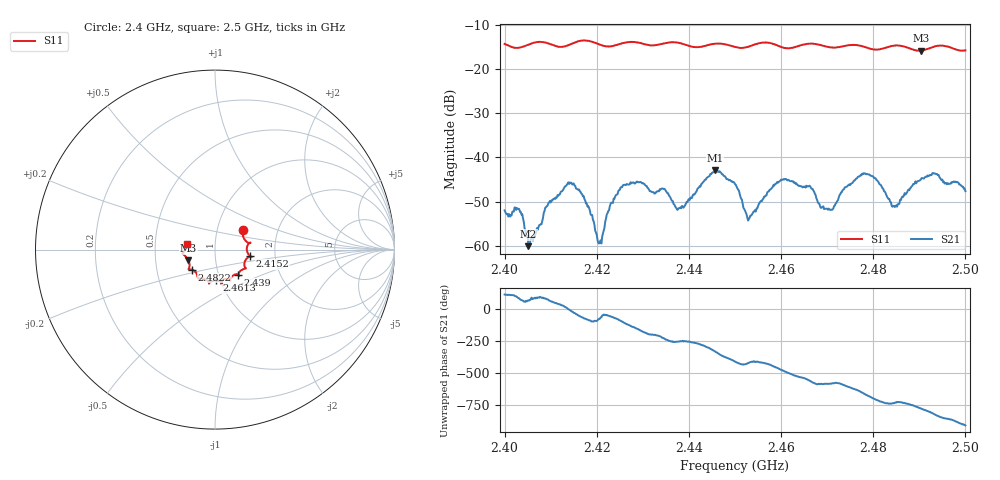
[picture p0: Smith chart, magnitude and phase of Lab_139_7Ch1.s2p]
# Hz S RI R
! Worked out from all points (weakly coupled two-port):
!   601 points, 2.4 GHz to 2.5 GHz, reference 50 ohm
!   highest |S21| = -42.93 dB at 2.4457 GHz (marker M1); lowest = -60.0 dB at 2.4052 GHz (marker M2)
!   lowest |S11| = -15.9 dB at 2.4903 GHz (marker M3), VSWR 1.38, Z = 36.8 - j4.44 ohm
!   |S11| at or under -10 dB: start of sweep to end of sweep
!   S12 and S22 are empty: the file has one direction only
!   S11 on the Smith chart (normalised r, x): 2.4 GHz: 1.33, +0.31; 2.4152 GHz: 1.48, -0.11; 2.439 GHz: 1.24, -0.36; 2.4613 GHz: 0.96, -0.34; 2.4822 GHz: 0.76, -0.17; 2.5 GHz: 0.72, +0.05
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2.4e9  0.1558 0.1112  -0.00116 0.00224  0 0  0 0
2.403333e9  0.1647 0.0566  0.000415 0.0024  0 0  0 0
2.405167e9  0.184 0.0389  0.000315 0.000944  0 0  0 0
2.409333e9  0.1919 0.0367  0.000534 0.00281  0 0  0 0
2.415167e9  0.1947 -0.0359  0.00429 -0.00226  0 0  0 0
2.416667e9  0.2044 -0.0419  0.00198 -0.00334  0 0  0 0
2.420667e9  0.1822 -0.0452  0.000321 -0.00104  0 0  0 0
2.425667e9  0.168 -0.0997  -0.000737 -0.00479  0 0  0 0
2.433333e9  0.1328 -0.1329  -0.00374 0.00186  0 0  0 0
2.439e9  0.128 -0.1393  -0.000966 0.00264  0 0  0 0
2.445667e9  0.084 -0.1731  0.00625 0.00345  0 0  0 0
2.45e9  0.0684 -0.1632  0.00313 -0.00389  0 0  0 0
2.453167e9  0.0377 -0.1759  0.00111 -0.00177  0 0  0 0
2.461333e9  0.00773 -0.1706  -0.00409 -0.00368  0 0  0 0
2.466667e9  -0.0331 -0.19  -0.00374 0.00235  0 0  0 0
2.470667e9  -0.0495 -0.168  -0.0018 0.0018  0 0  0 0
2.477667e9  -0.0965 -0.152  0.00289 0.00575  0 0  0 0
2.482167e9  -0.1282 -0.1116  0.00432 -0.000972  0 0  0 0
2.483333e9  -0.1394 -0.1101  0.00311 -0.00133  0 0  0 0
2.485167e9  -0.1474 -0.1102  0.00275 -0.000442  0 0  0 0
2.490333e9  -0.1491 -0.0587  0.00274 -0.00492  0 0  0 0
2.5e9  -0.1585 0.0337  -0.00403 0.00105  0 0  0 0
